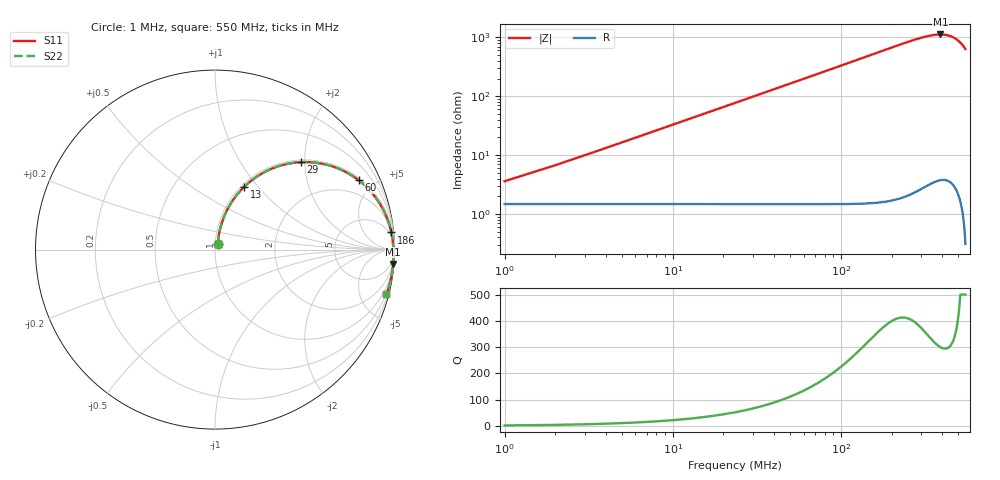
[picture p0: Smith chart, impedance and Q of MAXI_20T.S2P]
! Coilcraft 132-20SM_ Maxi Spring Air Core Inductor
! 28 May 2003
# MHZ S MA R 50
!Freq  MagS11  AngS11  MagS21  AngS21  MagS12  AngS12  MagS22  AngS22
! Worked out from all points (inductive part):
!   550 points, 1 MHz to 550 MHz, reference 50 ohm
!   read as one part in series: L = 523 nH near 3 MHz
!   highest |Z| = 1.12 kohm at 391 MHz (marker M1)
!   S11 on the Smith chart (normalised r, x): 1 MHz: 1.03, +0.07; 13 MHz: 1.03, +0.85; 29 MHz: 1.05, +1.91; 60 MHz: 1.11, +4.09; 186 MHz: 3, +20; 550 MHz: 0.41, -7.76
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1  0.03532 63.8  0.9849 -1.9  0.9849 -1.9  0.03533 63.8
2  0.0659 73.6  0.9834 -3.7  0.9834 -3.7  0.06592 73.6
4  0.1286 76.1  0.9774 -7.4  0.9774 -7.4  0.1286 76.1
6  0.1903 74.6  0.9675 -11.0  0.9675 -11.0  0.1903 74.6
9  0.2788 70.8  0.9465 -16.3  0.9465 -16.3  0.2789 70.8
13  0.3865 65.1  0.9089 -23.0  0.9089 -23.0  0.3866 65.1
20  0.5418 55.5  0.8283 -33.2  0.8283 -33.2  0.542 55.5
29  0.6829 45.5  0.7198 -43.6  0.7198 -43.6  0.6831 45.5
36  0.7577 39.4  0.6431 -49.9  0.6431 -49.9  0.7579 39.4
43  0.8112 34.4  0.5762 -55.0  0.5762 -55.0  0.8115 34.4
60  0.8887 25.8  0.4516 -63.8  0.4516 -63.8  0.889 25.8
75  0.9246 20.7  0.3752 -69.0  0.3752 -69.0  0.9248 20.7
93  0.9492 16.3  0.3098 -73.4  0.3098 -73.4  0.9494 16.3
134  0.9748 10.2  0.2193 -79.6  0.2193 -79.6  0.975 10.2
184  0.9865 5.7  0.1603 -84.1  0.1603 -84.1  0.9868 5.7
186  0.9868 5.6  0.1586 -84.3  0.1586 -84.3  0.987 5.6
276  0.9936 0.5  0.1083 -89.4  0.1083 -89.4  0.9939 0.5
367  0.9954 -3.6  0.08958 -93.4  0.08958 -93.4  0.9957 -3.6
391  0.9954 -4.6  0.08865 -94.5  0.08865 -94.5  0.9957 -4.6
459  0.9944 -8.0  0.09678 -97.8  0.09678 -97.8  0.9947 -8.0
505  0.9922 -10.8  0.1156 -100.7  0.1156 -100.7  0.9925 -10.8
550  0.9866 -14.6  0.1537 -104.6  0.1537 -104.6  0.9869 -14.6
